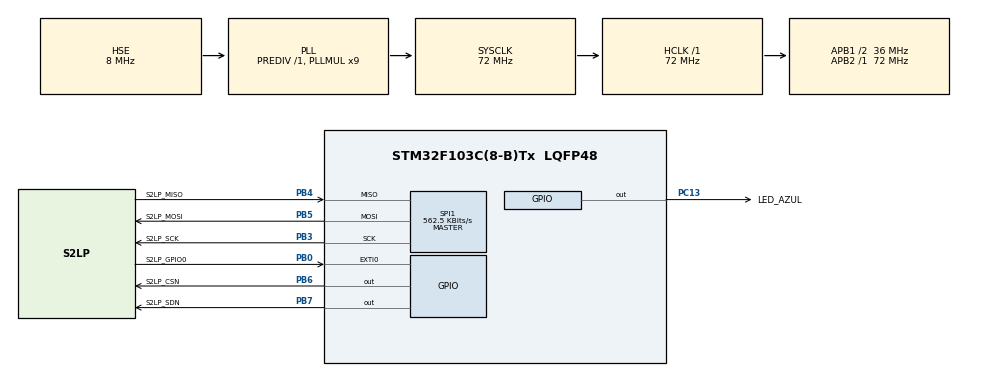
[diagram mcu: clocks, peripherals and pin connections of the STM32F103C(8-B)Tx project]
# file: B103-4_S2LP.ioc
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Mcu.Family=STM32F1
Mcu.Name=STM32F103C(8-B)Tx
Mcu.Package=LQFP48
NVIC.EXTI0_IRQn=true\:0\:0\:false\:false\:true\:true\:true\:true
NVIC.PriorityGroup=NVIC_PRIORITYGROUP_4
PA13.Mode=Serial_Wire
PA13.Signal=SYS_JTMS-SWDIO
PA14.Mode=Serial_Wire
PA14.Signal=SYS_JTCK-SWCLK
PB0.GPIO_Label=S2LP_GPIO0
PB0.GPIO_ModeDefaultEXTI=GPIO_MODE_IT_FALLING
PB0.GPIO_PuPd=GPIO_PULLUP
PB0.Signal=GPXTI0
PB3.GPIO_Label=S2LP_SCK
PB3.Mode=Full_Duplex_Master
PB3.Signal=SPI1_SCK
PB4.GPIO_Label=S2LP_MISO
PB4.Mode=Full_Duplex_Master
PB4.Signal=SPI1_MISO
PB5.GPIO_Label=S2LP_MOSI
PB5.Mode=Full_Duplex_Master
PB5.Signal=SPI1_MOSI
PB6.GPIO_Label=S2LP_CSN
PB6.Signal=GPIO_Output
PB7.GPIO_Label=S2LP_SDN
PB7.Signal=GPIO_Output
PC13-TAMPER-RTC.GPIO_Label=LED_AZUL
PC13-TAMPER-RTC.Signal=GPIO_Output
PC14-OSC32_IN.Mode=LSE-External-Oscillator
PC14-OSC32_IN.Signal=RCC_OSC32_IN
PC15-OSC32_OUT.Mode=LSE-External-Oscillator
PC15-OSC32_OUT.Signal=RCC_OSC32_OUT
PD0-OSC_IN.Mode=HSE-External-Oscillator
PD0-OSC_IN.Signal=RCC_OSC_IN
PD1-OSC_OUT.Mode=HSE-External-Oscillator
PD1-OSC_OUT.Signal=RCC_OSC_OUT
ProjectManager.HeapSize=0x200
ProjectManager.StackSize=0x400
ProjectManager.TargetToolchain=STM32CubeIDE
RCC.AHBFreq_Value=72000000
RCC.APB1CLKDivider=RCC_HCLK_DIV2
RCC.APB1Freq_Value=36000000
RCC.APB1TimFreq_Value=72000000
RCC.APB2Freq_Value=72000000
RCC.APB2TimFreq_Value=72000000
RCC.HCLKFreq_Value=72000000
RCC.PLLMUL=RCC_PLL_MUL9
RCC.PLLSourceVirtual=RCC_PLLSOURCE_HSE
RCC.SYSCLKFreq_VALUE=72000000
RCC.SYSCLKSource=RCC_SYSCLKSOURCE_PLLCLK
RCC.USBFreq_Value=72000000
SPI1.BaudRatePrescaler=SPI_BAUDRATEPRESCALER_128
SPI1.CLKPhase=SPI_PHASE_2EDGE
SPI1.CalculateBaudRate=562.5 KBits/s
SPI1.Direction=SPI_DIRECTION_2LINES
SPI1.Mode=SPI_MODE_MASTER
SPI1.VirtualType=VM_MASTER
board=custom

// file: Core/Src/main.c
/* USER CODE BEGIN Header */
/**
  ******************************************************************************
  * @file           : main.c
  * @brief          : Main program body
  ******************************************************************************
  * @attention
  *
  * Copyright (c) 2026 STMicroelectronics.
  * All rights reserved.
  *
  * This software is licensed under terms that can be found in the LICENSE file
  * in the root directory of this software component.
  * If no LICENSE file comes with this software, it is provided AS-IS.
  *
  ******************************************************************************
  */
/* USER CODE END Header */
#include "main.h"
#include "spi.h"
#include "gpio.h"

/* USER CODE BEGIN Includes */
#include "S2LP.h"
/* USER CODE END Includes */

/* USER CODE BEGIN PV */
volatile uint8_t rx_flag = 0;
uint8_t tx_buff[4] = {0xAA, 0xBB, 0xCC, 0xDD};
uint8_t rx_buff[4];
/* USER CODE END PV */

void SystemClock_Config(void);

/* USER CODE BEGIN 0 */
void HAL_GPIO_EXTI_Callback(uint16_t GPIO_Pin)
{
    if (GPIO_Pin == S2LP_GPIO0_Pin) // IRQ pin del S2-LP
    {
        rx_flag = 1;
    }
}
/* USER CODE END 0 */

int main(void)
{

  /* MCU Configuration--------------------------------------------------------*/

  /* Reset of all peripherals, Initializes the Flash interface and the Systick. */
  HAL_Init();

  /* Configure the system clock */
  SystemClock_Config();

  /* Initialize all configured peripherals */
  MX_GPIO_Init();
  MX_SPI1_Init();
  /* USER CODE BEGIN 2 */
	S2LP_SdnHigh();
	HAL_Delay(50);
	S2LP_SdnLow();
	HAL_Delay(50);

	S2LP_Init_Minima_Registros();
	uint8_t longitud_paquete = S2LP_ReadReg(S2LP_REG_PCKT_LEN);
	if (longitud_paquete == 4) {
	    // ¡Éxito! El chip S2-LP está vivo, respondiendo y configurado a 4 bytes fijos.
	}
  /* USER CODE END 2 */

  /* Infinite loop */
  /* USER CODE BEGIN WHILE */
  while (1)
  {
	  HAL_GPIO_TogglePin(LED_AZUL_GPIO_Port, LED_AZUL_Pin);
	  uint8_t estado = S2LP_GetStatus();
	  if(estado == 0x29)
	  {
	        // Secuencia oficial de recuperación en caliente para S2-LP
	        S2LP_SendCommand(S2LP_CMD_SABORT);     // Rompe el bloqueo analógico
	        HAL_Delay(2);
	        S2LP_SendCommand(S2LP_CMD_SREADY);     // Fuerza a regresar a estado Ready normal
	        HAL_Delay(2);
	        S2LP_SendCommand(S2LP_CMD_SFLUSH_RX);           // Limpia el buffer de entrada (SFLUSH_RX)
	        HAL_Delay(2);
	  }
	  //Modo Tx
		S2LP_SendCommand(S2LP_CMD_SFLUSH_TX);
		S2LP_WriteTXFIFO(tx_buff, 4);
		S2LP_SendCommand(S2LP_CMD_STX);
		HAL_Delay(100);

	  //Modo Rx
	  	//S2LP_SendCommand(S2LP_CMD_SABORT);
		//S2LP_SendCommand(S2LP_CMD_SFLUSH_RX);
		//S2LP_SendCommand(S2LP_CMD_SRX);
		//HAL_Delay(10);
		//estado = S2LP_GetStatus();
		//S2LP_ReadRXFIFO(rx_buff, 4);
    /* USER CODE END WHILE */

  }
}

void SystemClock_Config(void)
{
  RCC_OscInitTypeDef RCC_OscInitStruct = {0};
  RCC_ClkInitTypeDef RCC_ClkInitStruct = {0};

  /** Initializes the RCC Oscillators according to the specified parameters
  * in the RCC_OscInitTypeDef structure.
  */
  RCC_OscInitStruct.OscillatorType = RCC_OSCILLATORTYPE_HSE;
  RCC_OscInitStruct.HSEState = RCC_HSE_ON;
  RCC_OscInitStruct.HSEPredivValue = RCC_HSE_PREDIV_DIV1;
  RCC_OscInitStruct.HSIState = RCC_HSI_ON;
  RCC_OscInitStruct.PLL.PLLState = RCC_PLL_ON;
  RCC_OscInitStruct.PLL.PLLSource = RCC_PLLSOURCE_HSE;
  RCC_OscInitStruct.PLL.PLLMUL = RCC_PLL_MUL9;
  if (HAL_RCC_OscConfig(&RCC_OscInitStruct) != HAL_OK)
  {
    Error_Handler();
  }

  /** Initializes the CPU, AHB and APB buses clocks
  */
  RCC_ClkInitStruct.ClockType = RCC_CLOCKTYPE_HCLK|RCC_CLOCKTYPE_SYSCLK
                              |RCC_CLOCKTYPE_PCLK1|RCC_CLOCKTYPE_PCLK2;
  RCC_ClkInitStruct.SYSCLKSource = RCC_SYSCLKSOURCE_PLLCLK;
  RCC_ClkInitStruct.AHBCLKDivider = RCC_SYSCLK_DIV1;
  RCC_ClkInitStruct.APB1CLKDivider = RCC_HCLK_DIV2;
  RCC_ClkInitStruct.APB2CLKDivider = RCC_HCLK_DIV1;

  if (HAL_RCC_ClockConfig(&RCC_ClkInitStruct, FLASH_LATENCY_2) != HAL_OK)
  {
    Error_Handler();
  }
}

void Error_Handler(void)
{
  __disable_irq();
  while (1)
  {
  }
}
